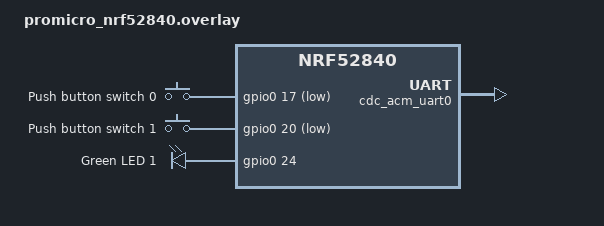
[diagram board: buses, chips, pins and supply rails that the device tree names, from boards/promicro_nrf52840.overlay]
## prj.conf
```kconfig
#
# Copyright (c) 2018 Nordic Semiconductor
#
# SPDX-License-Identifier: LicenseRef-Nordic-5-Clause
#

# Enable the UART driver
CONFIG_UART_ASYNC_API=y
CONFIG_NRFX_UARTE0=y
CONFIG_SERIAL=y

CONFIG_GPIO=y

# Make sure printk is printing to the UART console
CONFIG_CONSOLE=y
CONFIG_UART_CONSOLE=y

CONFIG_HEAP_MEM_POOL_SIZE=2048

CONFIG_BT=y
CONFIG_BT_PERIPHERAL=y
CONFIG_BT_DEVICE_NAME="Nordic_UART_Service"
CONFIG_BT_MAX_CONN=1
CONFIG_BT_MAX_PAIRED=1

# Enable the NUS service
# STEP 1 - Enable the Kconfig symbol of the NUS service
CONFIG_BT_NUS=y

# Enable bonding
CONFIG_BT_SETTINGS=y
CONFIG_FLASH=y
CONFIG_FLASH_PAGE_LAYOUT=y
CONFIG_FLASH_MAP=y

# Enable DK LED and Buttons library
CONFIG_DK_LIBRARY=y

# This example requires more stack
CONFIG_MAIN_STACK_SIZE=2048
CONFIG_SYSTEM_WORKQUEUE_STACK_SIZE=2048

# Config logger
CONFIG_LOG=y
CONFIG_USE_SEGGER_RTT=y
CONFIG_LOG_BACKEND_RTT=y
CONFIG_LOG_BACKEND_UART=n
CONFIG_LOG_PRINTK=n

CONFIG_ASSERT=y
```

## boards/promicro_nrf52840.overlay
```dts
/*
 * Copyright (c) 2021 Nordic Semiconductor ASA
 *
 * SPDX-License-Identifier: LicenseRef-Nordic-5-Clause
 */

/ {
	chosen {
		zephyr,console = &cdc_acm_uart0;
		nordic,nus-uart = &cdc_acm_uart0;
	};

	buttons {
		compatible = "gpio-keys";

		button0: button_0 {
			gpios = <&gpio0 17 (GPIO_PULL_UP | GPIO_ACTIVE_LOW)>;
			label = "Push button switch 0";
		};

		button1: button_1 {
			gpios = <&gpio0 20 (GPIO_PULL_UP | GPIO_ACTIVE_LOW)>;
			label = "Push button switch 1";
		};
	};

	leds {
		led1: led_1 {
			gpios = <&gpio0 24 GPIO_ACTIVE_HIGH>;
			label = "Green LED 1";
		};
	};

};

&zephyr_udc0 {
	cdc_acm_uart0: cdc_acm_uart0 {
		compatible = "zephyr,cdc-acm-uart";
	};
};
```

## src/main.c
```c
/*
 * Copyright (c) 2018 Nordic Semiconductor ASA
 *
 * SPDX-License-Identifier: LicenseRef-Nordic-5-Clause
 */

/** @file
 *  @brief Nordic UART Bridge Service (NUS) sample
 */
#include <uart_async_adapter.h>

#include <zephyr/types.h>
#include <zephyr/kernel.h>
#include <zephyr/drivers/uart.h>
#include <zephyr/usb/usb_device.h>

#include <zephyr/device.h>
#include <zephyr/devicetree.h>
#include <soc.h>

#include <zephyr/bluetooth/bluetooth.h>
#include <zephyr/bluetooth/uuid.h>
#include <zephyr/bluetooth/gatt.h>
#include <zephyr/bluetooth/hci.h>

#include <bluetooth/services/nus.h>

#include <dk_buttons_and_leds.h>

#include <zephyr/settings/settings.h>

#include <stdio.h>
#include <string.h>

#include <zephyr/logging/log.h>

#define LOG_MODULE_NAME peripheral_uart
LOG_MODULE_REGISTER(LOG_MODULE_NAME);

#define STACKSIZE CONFIG_BT_NUS_THREAD_STACK_SIZE
#define PRIORITY  7

#define DEVICE_NAME	CONFIG_BT_DEVICE_NAME
#define DEVICE_NAME_LEN (sizeof(DEVICE_NAME) - 1)

#define RUN_STATUS_LED	       DK_LED1
#define RUN_LED_BLINK_INTERVAL 1000

#define CON_STATUS_LED DK_LED2

#define KEY_PASSKEY_ACCEPT DK_BTN1_MSK
#define KEY_PASSKEY_REJECT DK_BTN2_MSK

#define UART_BUF_SIZE		CONFIG_BT_NUS_UART_BUFFER_SIZE
#define UART_WAIT_FOR_BUF_DELAY K_MSEC(50)
#define UART_WAIT_FOR_RX	CONFIG_BT_NUS_UART_RX_WAIT_TIME

static K_SEM_DEFINE(ble_init_ok, 0, 1);

static struct bt_conn *current_conn;
static struct bt_conn *auth_conn;
static struct k_work adv_work;

static const struct device *uart = DEVICE_DT_GET(DT_CHOSEN(nordic_nus_uart));
static struct k_work_delayable uart_work;
/* STEP 6.2 - Declare the struct of the data item of the FIFOs */
struct uart_data_t {
    void *fifo_reserved;
    uint8_t data[UART_BUF_SIZE];
    uint16_t len;
};

/* STEP 6.1 - Declare the FIFOs */
static K_FIFO_DEFINE(fifo_uart_tx_data);
static K_FIFO_DEFINE(fifo_uart_rx_data);

static const struct bt_data ad[] = {
    BT_DATA_BYTES(BT_DATA_FLAGS, (BT_LE_AD_GENERAL | BT_LE_AD_NO_BREDR)),
    BT_DATA(BT_DATA_NAME_COMPLETE, DEVICE_NAME, DEVICE_NAME_LEN),
};

static const struct bt_data sd[] = {
    BT_DATA_BYTES(BT_DATA_UUID128_ALL, BT_UUID_NUS_VAL),
};

#ifdef CONFIG_UART_ASYNC_ADAPTER
UART_ASYNC_ADAPTER_INST_DEFINE(async_adapter);
#else
#define async_adapter NULL
#endif

static void uart_cb(const struct device *dev, struct uart_event *evt, void *user_data)
{
    ARG_UNUSED(dev);

    static size_t aborted_len;
    struct uart_data_t *buf;
    static uint8_t *aborted_buf;
    static bool disable_req;

    switch (evt->type) {
    case UART_TX_DONE:
        LOG_DBG("UART_TX_DONE");
        if ((evt->data.tx.len == 0) || (!evt->data.tx.buf)) {
            return;
        }

        if (aborted_buf) {
            buf = CONTAINER_OF(aborted_buf, struct uart_data_t, data[0]);
            aborted_buf = NULL;
            aborted_len = 0;
        } else {
            buf = CONTAINER_OF(evt->data.tx.buf, struct uart_data_t, data[0]);
        }

        k_free(buf);

        buf = k_fifo_get(&fifo_uart_tx_data, K_NO_WAIT);
        if (!buf) {
            return;
        }

        if (uart_tx(uart, buf->data, buf->len, SYS_FOREVER_MS)) {
            LOG_WRN("Failed to send data over UART");
        }

        break;

    case UART_RX_RDY:
        LOG_DBG("UART_RX_RDY");
        buf = CONTAINER_OF(evt->data.rx.buf, struct uart_data_t, data[0]);
        buf->len += evt->data.rx.len;

        if (disable_req) {
            return;
        }

        if ((evt->data.rx.buf[buf->len - 1] == '\n') ||
            (evt->data.rx.buf[buf->len - 1] == '\r')) {
            disable_req = true;
            uart_rx_disable(uart);
        }

        break;

    case UART_RX_DISABLED:
        LOG_DBG("UART_RX_DISABLED");
        disable_req = false;

        buf = k_malloc(sizeof(*buf));
        if (buf) {
            buf->len = 0;
        } else {
            LOG_WRN("Not able to allocate UART receive buffer");
            k_work_reschedule(&uart_work, UART_WAIT_FOR_BUF_DELAY);
            return;
        }

        uart_rx_enable(uart, buf->data, sizeof(buf->data), UART_WAIT_FOR_RX);

        break;

    case UART_RX_BUF_REQUEST:
        LOG_DBG("UART_RX_BUF_REQUEST");
        buf = k_malloc(sizeof(*buf));
        if (buf) {
            buf->len = 0;
            uart_rx_buf_rsp(uart, buf->data, sizeof(buf->data));
        } else {
            LOG_WRN("Not able to allocate UART receive buffer");
        }

        break;

    case UART_RX_BUF_RELEASED:
        LOG_DBG("UART_RX_BUF_RELEASED");
        buf = CONTAINER_OF(evt->data.rx_buf.buf, struct uart_data_t, data[0]);

        if (buf->len > 0) {
            /* STEP 9.1 -  Push the data received from the UART peripheral into the
             * fifo_uart_rx_data FIFO */
            k_fifo_put(&fifo_uart_rx_data, buf);
        } else {
            k_free(buf);
        }

        break;

    case UART_TX_ABORTED:
        LOG_DBG("UART_TX_ABORTED");
        if (!aborted_buf) {
            aborted_buf = (uint8_t *)evt->data.tx.buf;
        }

        aborted_len += evt->data.tx.len;
        buf = CONTAINER_OF((void *)aborted_buf, struct uart_data_t, data);

        uart_tx(uart, &buf->data[aborted_len], buf->len - aborted_len, SYS_FOREVER_MS);

        break;

    default:
        break;
    }
}

static void uart_work_handler(struct k_work *item)
{
    struct uart_data_t *buf;

    buf = k_malloc(sizeof(*buf));
    if (buf) {
        buf->len = 0;
    } else {
        LOG_WRN("Not able to allocate UART receive buffer");
        k_work_reschedule(&uart_work, UART_WAIT_FOR_BUF_DELAY);
        return;
    }

    uart_rx_enable(uart, buf->data, sizeof(buf->data), UART_WAIT_FOR_RX);
}

static bool uart_test_async_api(const struct device *dev)
{
    const struct uart_driver_api *api = (const struct uart_driver_api *)dev->api;

    return (api->callback_set != NULL);
}

static int uart_init(void)
{
    int err;
    int pos;
    struct uart_data_t *rx;
    struct uart_data_t *tx;

    if (!device_is_ready(uart)) {
        return -ENODEV;
    }

    if (IS_ENABLED(CONFIG_USB_DEVICE_STACK)) {
        err = usb_enable(NULL);
        if (err && (err != -EALREADY)) {
            LOG_ERR("Failed to enable USB");
            return err;
        }
    }

    rx = k_malloc(sizeof(*rx));
    if (rx) {
        rx->len = 0;
    } else {
        return -ENOMEM;
    }

    k_work_init_delayable(&uart_work, uart_work_handler);

    if (IS_ENABLED(CONFIG_UART_ASYNC_ADAPTER) && !uart_test_async_api(uart)) {
        /* Implement API adapter */
        uart_async_adapter_init(async_adapter, uart);
        uart = async_adapter;
    }

    err = uart_callback_set(uart, uart_cb, NULL);
    if (err) {
        k_free(rx);
        LOG_ERR("Cannot initialize UART callback");
        return err;
    }

    if (IS_ENABLED(CONFIG_UART_LINE_CTRL)) {
        LOG_INF("Wait for DTR");
        while (true) {
            uint32_t dtr = 0;

            uart_line_ctrl_get(uart, UART_LINE_CTRL_DTR, &dtr);
            if (dtr) {
                break;
            }
            /* Give CPU resources to low priority threads. */
            k_sleep(K_MSEC(100));
        }
        LOG_INF("DTR set");
        err = uart_line_ctrl_set(uart, UART_LINE_CTRL_DCD, 1);
        if (err) {
            LOG_WRN("Failed to set DCD, ret code %d", err);
        }
        err = uart_line_ctrl_set(uart, UART_LINE_CTRL_DSR, 1);
        if (err) {
            LOG_WRN("Failed to set DSR, ret code %d", err);
        }
    }

    tx = k_malloc(sizeof(*tx));

    if (tx) {
        pos = snprintf(tx->data, sizeof(tx->data),
                   "Starting Nordic UART service example\r\n");

        if ((pos < 0) || (pos >= sizeof(tx->data))) {
            k_free(rx);
            k_free(tx);
            LOG_ERR("snprintf returned %d", pos);
            return -ENOMEM;
        }

        tx->len = pos;
    } else {
        k_free(rx);
        return -ENOMEM;
    }

    err = uart_tx(uart, tx->data, tx->len, SYS_FOREVER_MS);
    if (err) {
        k_free(rx);
        k_free(tx);
        LOG_ERR("Cannot display welcome message (err: %d)", err);
        return err;
    }

    err = uart_rx_enable(uart, rx->data, sizeof(rx->data), UART_WAIT_FOR_RX);
    if (err) {
        LOG_ERR("Cannot enable uart reception (err: %d)", err);
        /* Free the rx buffer only because the tx buffer will be handled in the callback */
        k_free(rx);
    }

    return err;
}

static void adv_work_handler(struct k_work *work)
{
    int err = bt_le_adv_start(BT_LE_ADV_CONN_FAST_2, ad, ARRAY_SIZE(ad), sd, ARRAY_SIZE(sd));

    if (err) {
        printk("Advertising failed to start (err %d)\n", err);
        return;
    }

    printk("Advertising successfully started\n");
}

static void advertising_start(void)
{
    k_work_submit(&adv_work);
}

static void connected(struct bt_conn *conn, uint8_t err)
{
    char addr[BT_ADDR_LE_STR_LEN];

    if (err) {
        LOG_ERR("Connection failed, err 0x%02x ", err);
        return;
    }

    bt_addr_le_to_str(bt_conn_get_dst(conn), addr, sizeof(addr));
    LOG_INF("Connected %s", addr);

    current_conn = bt_conn_ref(conn);

    dk_set_led_on(CON_STATUS_LED);
}

static void disconnected(struct bt_conn *conn, uint8_t reason)
{
    char addr[BT_ADDR_LE_STR_LEN];

    bt_addr_le_to_str(bt_conn_get_dst(conn), addr, sizeof(addr));

    LOG_INF("Disconnected: %s, reason 0x%02x", addr, reason);

    if (auth_conn) {
        bt_conn_unref(auth_conn);
        auth_conn = NULL;
    }

    if (current_conn) {
        bt_conn_unref(current_conn);
        current_conn = NULL;
        dk_set_led_off(CON_STATUS_LED);
    }
}

static void recycled_cb(void)
{
    printk("Connection object available from previous conn. Disconnect is complete!\n");
    advertising_start();
}

#ifdef CONFIG_BT_NUS_SECURITY_ENABLED
static void security_changed(struct bt_conn *conn, bt_security_t level, enum bt_security_err err)
{
    char addr[BT_ADDR_LE_STR_LEN];

    bt_addr_le_to_str(bt_conn_get_dst(conn), addr, sizeof(addr));

    if (!err) {
        LOG_INF("Security changed: %s level %u", addr, level);
    } else {
        LOG_WRN("Security failed: %s level %u err %d", addr, level, err);
    }
}
#endif

BT_CONN_CB_DEFINE(conn_callbacks) = {
    .connected = connected,
    .disconnected = disconnected,
    .recycled = recycled_cb,
#ifdef CONFIG_BT_NUS_SECURITY_ENABLED
    .security_changed = security_changed,
#endif
};

#if defined(CONFIG_BT_NUS_SECURITY_ENABLED)
static void auth_passkey_display(struct bt_conn *conn, unsigned int passkey)
{
    char addr[BT_ADDR_LE_STR_LEN];

    bt_addr_le_to_str(bt_conn_get_dst(conn), addr, sizeof(addr));

    LOG_INF("Passkey for %s: %06u", addr, passkey);
}

static void auth_passkey_confirm(struct bt_conn *conn, unsigned int passkey)
{
    char addr[BT_ADDR_LE_STR_LEN];

    auth_conn = bt_conn_ref(conn);

    bt_addr_le_to_str(bt_conn_get_dst(conn), addr, sizeof(addr));

    LOG_INF("Passkey for %s: %06u", addr, passkey);

    if (IS_ENABLED(CONFIG_SOC_SERIES_NRF54HX) || IS_ENABLED(CONFIG_SOC_SERIES_NRF54LX)) {
        LOG_INF("Press Button 0 to confirm, Button 1 to reject.");
    } else {
        LOG_INF("Press Button 1 to confirm, Button 2 to reject.");
    }
}

static void auth_cancel(struct bt_conn *conn)
{
    char addr[BT_ADDR_LE_STR_LEN];

    bt_addr_le_to_str(bt_conn_get_dst(conn), addr, sizeof(addr));

    LOG_INF("Pairing cancelled: %s", addr);
}

static void pairing_complete(struct bt_conn *conn, bool bonded)
{
    char addr[BT_ADDR_LE_STR_LEN];

    bt_addr_le_to_str(bt_conn_get_dst(conn), addr, sizeof(addr));

    LOG_INF("Pairing completed: %s, bonded: %d", addr, bonded);
}

static void pairing_failed(struct bt_conn *conn, enum bt_security_err reason)
{
    char addr[BT_ADDR_LE_STR_LEN];

    bt_addr_le_to_str(bt_conn_get_dst(conn), addr, sizeof(addr));

    LOG_INF("Pairing failed conn: %s, reason %d", addr, reason);
}

static struct bt_conn_auth_cb conn_auth_callbacks = {
    .passkey_display = auth_passkey_display,
    .passkey_confirm = auth_passkey_confirm,
    .cancel = auth_cancel,
};

static struct bt_conn_auth_info_cb conn_auth_info_callbacks = {.pairing_complete = pairing_complete,
                                   .pairing_failed = pairing_failed};
#else
static struct bt_conn_auth_cb conn_auth_callbacks;
static struct bt_conn_auth_info_cb conn_auth_info_callbacks;
#endif

static void bt_receive_cb(struct bt_conn *conn, const uint8_t *const data, uint16_t len)
{
    int err;
    char addr[BT_ADDR_LE_STR_LEN] = {0};

    bt_addr_le_to_str(bt_conn_get_dst(conn), addr, ARRAY_SIZE(addr));

    LOG_INF("Received data from: %s", addr);

    for (uint16_t pos = 0; pos != len;) {
        struct uart_data_t *tx = k_malloc(sizeof(*tx));

        if (!tx) {
            LOG_WRN("Not able to allocate UART send data buffer");
            return;
        }

        /* Keep the last byte of TX buffer for potential LF char. */
        size_t tx_data_size = sizeof(tx->data) - 1;

        if ((len - pos) > tx_data_size) {
            tx->len = tx_data_size;
        } else {
            tx->len = (len - pos);
        }

        memcpy(tx->data, &data[pos], tx->len);

        pos += tx->len;

        /* Append the LF character when the CR character triggered
         * transmission from the peer.
         */
        if ((pos == len) && (data[len - 1] == '\r')) {
            tx->data[tx->len] = '\n';
            tx->len++;
        }
        /* STEP 8.3 - Forward the data received over Bluetooth LE to the UART peripheral */
        err = uart_tx(uart, tx->data, tx->len, SYS_FOREVER_MS);
        if (err){
            k_fifo_put(&fifo_uart_tx_data, tx);
        }
    }
}
/* STEP 8.1 - Create a variable of type bt_nus_cb and initialize it */
static struct bt_nus_cb nus_cb = {
    .received = bt_receive_cb,
};

void error(void)
{
    dk_set_leds_state(DK_ALL_LEDS_MSK, DK_NO_LEDS_MSK);

    while (true) {
        /* Spin for ever */
        k_sleep(K_MSEC(1000));
    }
}

#ifdef CONFIG_BT_NUS_SECURITY_ENABLED
static void num_comp_reply(bool accept)
{
    if (accept) {
        bt_conn_auth_passkey_confirm(auth_conn);
        LOG_INF("Numeric Match, conn %p", (void *)auth_conn);
    } else {
        bt_conn_auth_cancel(auth_conn);
        LOG_INF("Numeric Reject, conn %p", (void *)auth_conn);
    }

    bt_conn_unref(auth_conn);
    auth_conn = NULL;
}

void button_changed(uint32_t button_state, uint32_t has_changed)
{
    uint32_t buttons = button_state & has_changed;

    if (auth_conn) {
        if (buttons & KEY_PASSKEY_ACCEPT) {
            num_comp_reply(true);
        }

        if (buttons & KEY_PASSKEY_REJECT) {
            num_comp_reply(false);
        }
    }
}
#endif /* CONFIG_BT_NUS_SECURITY_ENABLED */

static void configure_gpio(void)
{
    int err;

#ifdef CONFIG_BT_NUS_SECURITY_ENABLED
    err = dk_buttons_init(button_changed);
    if (err) {
        LOG_ERR("Cannot init buttons (err: %d)", err);
    }
#endif /* CONFIG_BT_NUS_SECURITY_ENABLED */

    err = dk_leds_init();
    if (err) {
        LOG_ERR("Cannot init LEDs (err: %d)", err);
    }
}

int main(void)
{
    int blink_status = 0;
    int err = 0;

    configure_gpio();
    /* STEP 7 - Initialize the UART Peripheral  */
    err = uart_init();
    if (err) {
        error();
    }

    if (IS_ENABLED(CONFIG_BT_NUS_SECURITY_ENABLED)) {
        err = bt_conn_auth_cb_register(&conn_auth_callbacks);
        if (err) {
            printk("Failed to register authorization callbacks.\n");
            return 0;
        }

        err = bt_conn_auth_info_cb_register(&conn_auth_info_callbacks);
        if (err) {
            printk("Failed to register authorization info callbacks.\n");
            return 0;
        }
    }

    err = bt_enable(NULL);
    if (err) {
        error();
    }

    LOG_INF("Bluetooth initialized");

    k_sem_give(&ble_init_ok);

    if (IS_ENABLED(CONFIG_SETTINGS)) {
        settings_load();
    }
    /* STEP 8.2 - Pass your application callback function to the NUS service */
    err = bt_nus_init(&nus_cb);
    if (err) {
        LOG_ERR("Failed to initialize NUS service (err %d)", err);
        return 0;;
    }

    k_work_init(&adv_work, adv_work_handler);
    advertising_start();

    for (;;) {
        dk_set_led(RUN_STATUS_LED, (++blink_status) % 2);
        k_sleep(K_MSEC(RUN_LED_BLINK_INTERVAL));
    }
}
/* STEP 9.3 - Define the thread function  */
void ble_write_thread(void)
{
	/* Don't go any further until BLE is initialized */
	k_sem_take(&ble_init_ok, K_FOREVER);
	struct uart_data_t nus_data = {
		.len = 0,
	};

	for (;;) {
		/* Wait indefinitely for data to be sent over bluetooth */
		struct uart_data_t *buf = k_fifo_get(&fifo_uart_rx_data,
						     K_FOREVER);

		int plen = MIN(sizeof(nus_data.data) - nus_data.len, buf->len);
		int loc = 0;

		while (plen > 0) {
			memcpy(&nus_data.data[nus_data.len], &buf->data[loc], plen);
			nus_data.len += plen;
			loc += plen;

			if (nus_data.len >= sizeof(nus_data.data) ||
			   (nus_data.data[nus_data.len - 1] == '\n') ||
			   (nus_data.data[nus_data.len - 1] == '\r')) {
				if (bt_nus_send(NULL, nus_data.data, nus_data.len)) {
					LOG_WRN("Failed to send data over BLE connection");
				}
				nus_data.len = 0;
			}

			plen = MIN(sizeof(nus_data.data), buf->len - loc);
		}

		k_free(buf);
	}
}

/* STEP 9.2 - Create a dedicated thread for sending the data over Bluetooth LE. */
K_THREAD_DEFINE(ble_write_thread_id, STACKSIZE, ble_write_thread, NULL, NULL,
		NULL, PRIORITY, 0, 0);
```
